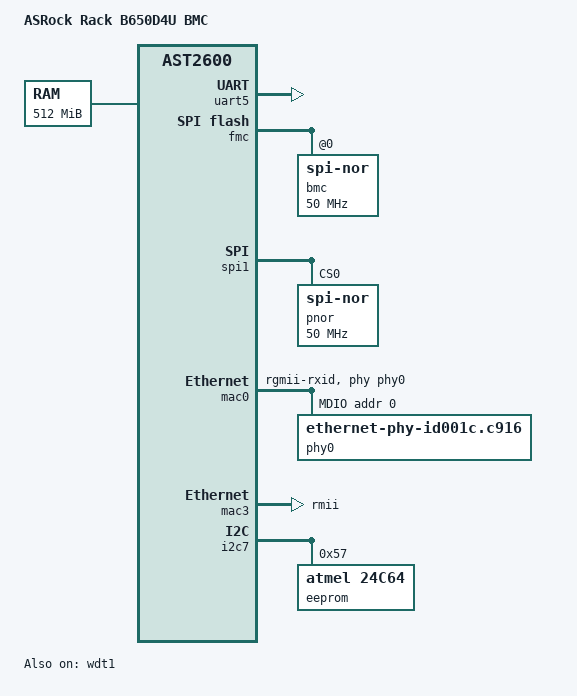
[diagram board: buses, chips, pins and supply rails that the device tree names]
// SPDX-License-Identifier: GPL-2.0+

/dts-v1/;

#include "ast2600-u-boot.dtsi"

/ {
	model = "ASRock Rack B650D4U BMC";
	compatible = "asrock,b650d4u-bmc", "aspeed,ast2600";
	
	memory {
		device_type = "memory";
		reg = <0x80000000 0x20000000>; /* Fixed: 512 MiB */
	};

	chosen {
		stdout-path = &uart5;
	};

	aliases {
		serial4 = &uart5;
		spi0 = &fmc;
		spi1 = &spi1;
		ethernet0 = &mac0;
		ethernet1 = &mac3;
	};
};

&uart5 {
	bootph-all;
	status = "okay";
};

&sdrammc {
	clock-frequency = <400000000>;
};

&fmc {
	status = "okay";
	pinctrl-names = "default";
	pinctrl-0 = <&pinctrl_fmcquad_default>;

	flash@0 {
		reg = <0>;
		compatible = "jedec,spi-nor";
		spi-max-frequency = <50000000>;
		status = "okay";
		m25p,fast-read;
		label = "bmc";
		spi-tx-bus-width = <1>;
		spi-rx-bus-width = <4>;
	};

	flash@1 {
		reg = <1>;
		status = "disabled";
	};

	flash@2 {
		reg = <2>;
		status = "disabled";
	};
};

&spi1 {
	status = "okay";
	pinctrl-names = "default";
	pinctrl-0 = <&pinctrl_spi1_default
		&pinctrl_spi1abr_default
		&pinctrl_spi1cs1_default
		&pinctrl_spi1wp_default
		&pinctrl_spi1quad_default>;

	flash@0 {
		reg = <0>;
		compatible = "jedec,spi-nor";
		spi-max-frequency = <50000000>;
		status = "okay";
		m25p,fast-read;
		label = "pnor";
		spi-tx-bus-width = <1>;
		spi-rx-bus-width = <1>;
	};

	flash@1 {
		reg = <1>;
		status = "disabled";
	};
};

&spi2 {
	status = "disabled";
};

&mac0 {
	status = "okay";
	phy-mode = "rgmii-rxid";
	pinctrl-names = "default";
	pinctrl-0 = <&pinctrl_rgmii1_default>;
	phy-handle = <&phy0>; /* Added: Link to the PHY */

	mdio { /* Added: Define the MDIO bus and PHY */
		#address-cells = <1>;
		#size-cells = <0>;
		phy0: ethernet-phy@0 {
			reg = <0>;
			compatible = "ethernet-phy-id001c.c916", "ethernet-phy-ieee802.3-c22";
		};
	};
};

&mac3 {
	status = "okay";
	phy-mode = "rmii";
	use-ncsi;
	pinctrl-names = "default";
	pinctrl-0 = <&pinctrl_rmii4_default>;
};

&i2c7 {
	status = "okay";
	
	eeprom@57 {
		compatible = "atmel,24c64";
		reg = <0x57>;
		pagesize = <64>;
	};
};

&wdt1 {
	status = "okay";
};
